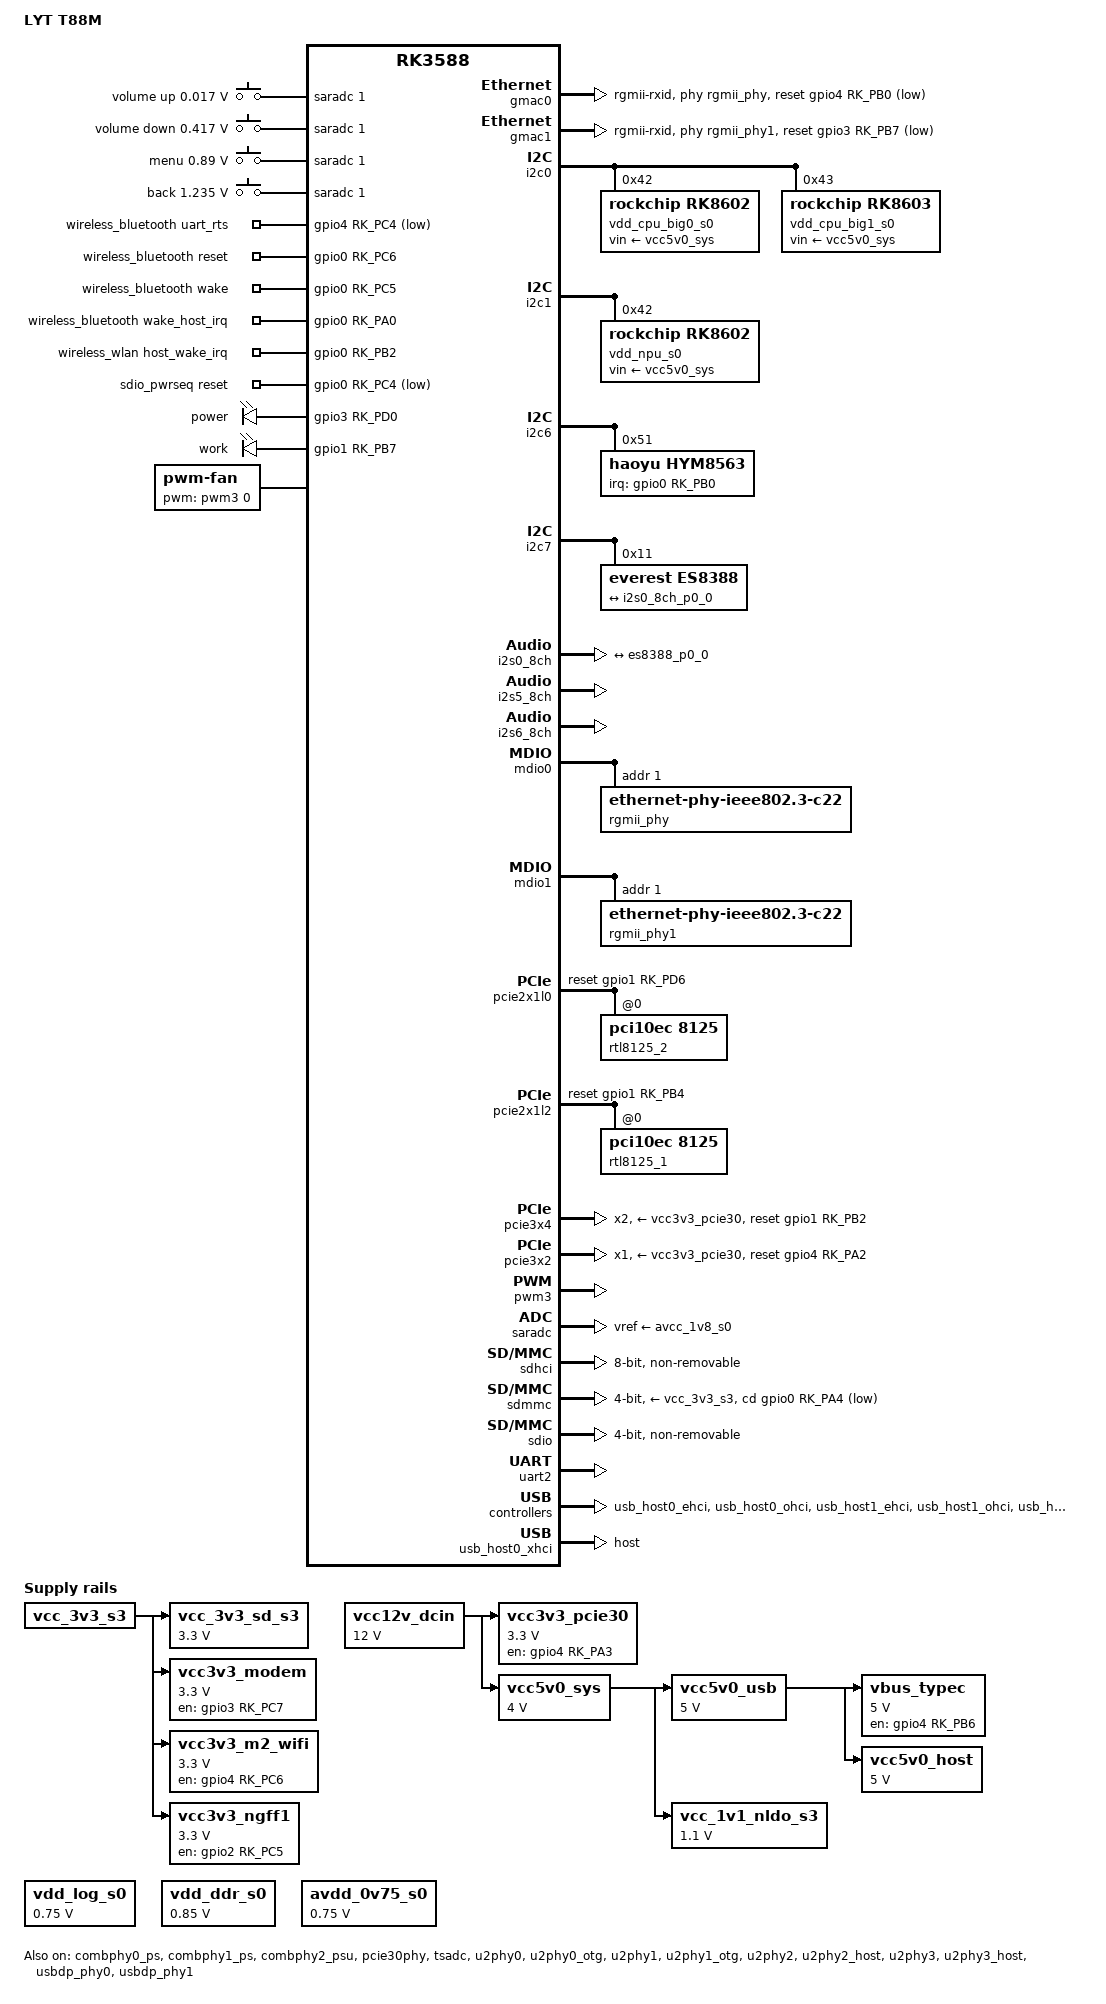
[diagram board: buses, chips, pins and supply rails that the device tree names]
// SPDX-License-Identifier: (GPL-2.0+ OR MIT)
/*
 * Copyright (c) 2022 Rockchip Electronics Co., Ltd.
 *
 */

/dts-v1/;

#include <dt-bindings/gpio/gpio.h>
#include <dt-bindings/input/input.h>
#include <dt-bindings/pinctrl/rockchip.h>
#include <dt-bindings/usb/pd.h>
#include <rockchip/rk3588.dtsi>
#include "rk3588-rk806-single.dtsi"
#include "rk3588s-ip.dtsi"
#include "rk3588s-ip-supply.dtsi"

/ {
	model = "LYT T88M";
	compatible = "lyt,t88m", "rockchip,rk3588";
	eth_order = "fe1b0000.ethernet,fe1c0000.ethernet,0004:*1:00.0,0002:*1:00.0";

	aliases {
		led-boot = &work_led;
		led-failsafe = &work_led;
		led-running = &work_led;
		led-upgrade = &work_led;

		ethernet0 = &gmac0;
		ethernet1 = &gmac1;
		ethernet2 = &rtl8125_1;
		ethernet3 = &rtl8125_2;
	};

	chosen {
		stdout-path = "serial2:115200n8";
	};

	adc_keys: adc-keys {
		compatible = "adc-keys";
		io-channels = <&saradc 1>;
		io-channel-names = "buttons";
		keyup-threshold-microvolt = <1800000>;
		poll-interval = <100>;

		vol-up-key {
			label = "volume up";
			linux,code = <KEY_VOLUMEUP>;
			press-threshold-microvolt = <17000>;
		};

		vol-down-key {
			label = "volume down";
			linux,code = <KEY_VOLUMEDOWN>;
			press-threshold-microvolt = <417000>;
		};

		menu-key {
			label = "menu";
			linux,code = <KEY_MENU>;
			press-threshold-microvolt = <890000>;
		};

		back-key {
			label = "back";
			linux,code = <KEY_BACK>;
			press-threshold-microvolt = <1235000>;
		};
	};

	vcc12v_dcin: vcc12v-dcin {
		compatible = "regulator-fixed";
		regulator-always-on;
		regulator-boot-on;
		regulator-min-microvolt = <12000000>;
		regulator-max-microvolt = <12000000>;
		regulator-name = "vcc12v_dcin";
	};

	vcc3v3_pcie30: vcc3v3-pcie30 {
		compatible = "regulator-fixed";
		regulator-name = "vcc3v3_pcie30";
		gpio = <&gpio4 RK_PA3 GPIO_ACTIVE_HIGH>; // vcc3v3_clk pwr en
		regulator-always-on;
		regulator-boot-on;
		enable-active-high;
		regulator-min-microvolt = <3300000>;
		regulator-max-microvolt = <3300000>;
		startup-delay-us = <5000>;
		vin-supply = <&vcc12v_dcin>;
	};

	vcc5v0_sys: vcc5v0-sys {
		compatible = "regulator-fixed";
		regulator-name = "vcc5v0_sys";
		regulator-always-on;
		regulator-boot-on;
		regulator-min-microvolt = <4000000>;
		regulator-max-microvolt = <4000000>;
		vin-supply = <&vcc12v_dcin>;
	};

	vcc5v0_usb: vcc5v0-usb {
		compatible = "regulator-fixed";
		regulator-name = "vcc5v0_usb";
		enable-active-high;
		regulator-always-on;
		regulator-boot-on;
		regulator-min-microvolt = <5000000>;
		regulator-max-microvolt = <5000000>;
		vin-supply = <&vcc5v0_sys>;
	};

	vcc_1v1_nldo_s3: vcc-1v1-nldo-s3 {
		compatible = "regulator-fixed";
		regulator-name = "vcc_1v1_nldo_s3";
		regulator-always-on;
		regulator-boot-on;
		regulator-min-microvolt = <1100000>;
		regulator-max-microvolt = <1100000>;
		vin-supply = <&vcc5v0_sys>;
	};

	vcc_3v3_sd_s3: vcc-3v3-sd-s3 {
		compatible = "regulator-fixed";
		regulator-name = "vcc_3v3_sd_s3";
		regulator-always-on;
		regulator-boot-on;
		regulator-min-microvolt = <3300000>;
		regulator-max-microvolt = <3300000>;
		vin-supply = <&vcc_3v3_s3>;
	};

	vbus_typec: vbus-typec {
		compatible = "regulator-fixed";
		regulator-name = "vbus_typec";
		regulator-min-microvolt = <5000000>;
		regulator-max-microvolt = <5000000>;
		regulator-always-on;
		regulator-boot-on;
		enable-active-high;
		gpio = <&gpio4 RK_PB6 GPIO_ACTIVE_HIGH>;
		vin-supply = <&vcc5v0_usb>;
		pinctrl-names = "default";
		pinctrl-0 = <&typec_vbus_en>;
	};

	vcc5v0_host: vcc5v0-host {
		compatible = "regulator-fixed";
		regulator-name = "vcc5v0_host";
		regulator-boot-on;
		regulator-always-on;
		regulator-min-microvolt = <5000000>;
		regulator-max-microvolt = <5000000>;
		enable-active-high;
		vin-supply = <&vcc5v0_usb>;
	};

	wireless_bluetooth: wireless-bluetooth {
		status = "okay";
		compatible = "bluetooth-platdata";
		clocks = <&hym8563>;
		clock-names = "ext_clock";
		uart_rts_gpios = <&gpio4 RK_PC4 GPIO_ACTIVE_LOW>;
		pinctrl-names = "default", "rts_gpio";
		pinctrl-0 = <&uart9m0_rtsn>, <&bt_reset_gpio>, <&bt_wake_gpio>, <&bt_irq_gpio>;
		pinctrl-1 = <&uart9_gpios>;
		BT,reset_gpio = <&gpio0 RK_PC6 GPIO_ACTIVE_HIGH>;
		BT,wake_gpio = <&gpio0 RK_PC5 GPIO_ACTIVE_HIGH>;
		BT,wake_host_irq = <&gpio0 RK_PA0 GPIO_ACTIVE_HIGH>;
	};

	wireless_wlan: wireless-wlan {
		status = "okay";
		compatible = "wlan-platdata";
		wifi_chip_type = "ap6275S";
		pinctrl-names = "default";
		pinctrl-0 = <&wifi_host_wake_irq>;
		WIFI,host_wake_irq = <&gpio0 RK_PB2 GPIO_ACTIVE_HIGH>;
	};

	sdio_pwrseq: sdio-pwrseq {
		status = "okay";
		compatible = "mmc-pwrseq-simple";
		clocks = <&hym8563>;
		clock-names = "ext_clock";
		pinctrl-names = "default";
		pinctrl-0 = <&wifi_enable_h>;
		post-power-on-delay-ms = <200>;
		reset-gpios = <&gpio0 RK_PC4 GPIO_ACTIVE_LOW>;
	};

	vcc3v3_modem: vcc3v3-modem {
		compatible = "regulator-fixed";
		enable-active-high;
		regulator-always-on;
		regulator-boot-on;
		gpios = <&gpio3 RK_PC7 GPIO_ACTIVE_HIGH>;
		regulator-min-microvolt = <3300000>;
		regulator-max-microvolt = <3300000>;
		regulator-name = "vcc3v3_modem";
		pinctrl-names = "default";
		pinctrl-0 = <&modem_power_en>;
		vin-supply = <&vcc_3v3_s3>;
	};

	vcc3v3_m2_wifi: vcc3v3-m2-wifi {
		compatible = "regulator-fixed";
		enable-active-high;
		regulator-always-on;
		regulator-boot-on;
		gpios = <&gpio4 RK_PC6 GPIO_ACTIVE_HIGH>;
		regulator-min-microvolt = <3300000>;
		regulator-max-microvolt = <3300000>;
		regulator-name = "vcc3v3_m2_wifi";
		pinctrl-names = "default";
		pinctrl-0 = <&m2_wifi_power_en>;
		vin-supply = <&vcc_3v3_s3>;
	};

	vcc3v3_ngff1: vcc3v3-ngff1 {
		compatible = "regulator-fixed";
		enable-active-high;
		regulator-always-on;
		regulator-boot-on;
		gpios = <&gpio2 RK_PC5 GPIO_ACTIVE_HIGH>;
		regulator-min-microvolt = <3300000>;
		regulator-max-microvolt = <3300000>;
		regulator-name = "vcc3v3_ngff1";
		pinctrl-names = "default";
		pinctrl-0 = <&ngff1_power_en>;
		vin-supply = <&vcc_3v3_s3>;
	};

	leds {
		compatible = "gpio-leds";
		pinctrl-names = "default";
		pinctrl-0 = <&led_power_en &led_work_en>;

		power_led: power {
			label = "power";
			gpios = <&gpio3 RK_PD0 GPIO_ACTIVE_HIGH>;
		};

		work_led: work {
			label = "work";
			gpios = <&gpio1 RK_PB7 GPIO_ACTIVE_HIGH>;
		};
	};

	fan: pwm-fan {
		compatible = "pwm-fan";
		#cooling-cells = <2>;
		pwms = <&pwm3 0 50000 0>;
		cooling-levels = <0 50 100 150 200 255>;
		rockchip,temp-trips = <
				50000   1
				55000   2
				60000   3
				65000   4
				70000   5
		>;
	};

};

&combphy0_ps {
	status = "okay";
};

&combphy1_ps {
	status = "okay";
};

&combphy2_psu {
	status = "okay";
};

&cpu_l0 {
	cpu-supply = <&vdd_cpu_lit_s0>;
};

&cpu_l1 {
	cpu-supply = <&vdd_cpu_lit_s0>;
};

&cpu_l2 {
	cpu-supply = <&vdd_cpu_lit_s0>;
};

&cpu_l3 {
	cpu-supply = <&vdd_cpu_lit_s0>;
};

&cpu_b0 {
	cpu-supply = <&vdd_cpu_big0_s0>;
};

&cpu_b1 {
	cpu-supply = <&vdd_cpu_big0_s0>;
};

&cpu_b2 {
	cpu-supply = <&vdd_cpu_big1_s0>;
};

&cpu_b3 {
	cpu-supply = <&vdd_cpu_big1_s0>;
};

&gmac0 {
        /* Use rgmii-rxid mode to disable rx delay inside Soc */
        phy-mode = "rgmii-rxid";
        clock_in_out = "output";

        snps,reset-gpio = <&gpio4 RK_PB0 GPIO_ACTIVE_LOW>;
        snps,reset-active-low;
        /* Reset time is 20ms, 100ms for rtl8211f */
        snps,reset-delays-us = <0 20000 100000>;

        pinctrl-names = "default";
        pinctrl-0 = <&gmac0_miim
                     &gmac0_tx_bus2
                     &gmac0_rx_bus2
                     &gmac0_rgmii_clk
                     &gmac0_rgmii_bus>;

        tx_delay = <0x43>;
        /* rx_delay = <0x3f>; */

        phy-handle = <&rgmii_phy>;
        status = "okay";
};

&gmac1 {
	/* Use rgmii-rxid mode to disable rx delay inside Soc */
	phy-mode = "rgmii-rxid";
	clock_in_out = "output";

	snps,reset-gpio = <&gpio3 RK_PB7 GPIO_ACTIVE_LOW>;
	snps,reset-active-low;
	/* Reset time is 20ms, 100ms for rtl8211f */
	snps,reset-delays-us = <0 20000 100000>;

	pinctrl-names = "default";
	pinctrl-0 = <&gmac1_miim
			 &gmac1_tx_bus2
			 &gmac1_rx_bus2
			 &gmac1_rgmii_clk
			 &gmac1_rgmii_bus>;

	tx_delay = <0x30>;
	/* rx_delay = <0x4f>; */

	phy-handle = <&rgmii_phy1>;
	status = "okay";
};

&i2c0 {
	pinctrl-names = "default";
	pinctrl-0 = <&i2c0m2_xfer>;
	status = "okay";

	vdd_cpu_big0_s0: regulator@42 {
		compatible = "rockchip,rk8602";
		reg = <0x42>;
		fcs,suspend-voltage-selector = <1>;
		regulator-name = "vdd_cpu_big0_s0";
		regulator-always-on;
		regulator-boot-on;
		regulator-min-microvolt = <550000>;
		regulator-max-microvolt = <1050000>;
		regulator-ramp-delay = <2300>;
		vin-supply = <&vcc5v0_sys>;

		regulator-state-mem {
			regulator-off-in-suspend;
		};
	};

	vdd_cpu_big1_s0: regulator@43 {
		compatible = "rockchip,rk8603", "rockchip,rk8602";
		reg = <0x43>;
		fcs,suspend-voltage-selector = <1>;
		regulator-name = "vdd_cpu_big1_s0";
		regulator-always-on;
		regulator-boot-on;
		regulator-min-microvolt = <550000>;
		regulator-max-microvolt = <1050000>;
		regulator-ramp-delay = <2300>;
		vin-supply = <&vcc5v0_sys>;

		regulator-state-mem {
			regulator-off-in-suspend;
		};
	};
};

&i2c1 {
	pinctrl-names = "default";
	pinctrl-0 = <&i2c1m2_xfer>;
	status = "okay";

	vdd_npu_s0: regulator@42 {
		compatible = "rockchip,rk8602";
		reg = <0x42>;
		fcs,suspend-voltage-selector = <1>;
		regulator-name = "vdd_npu_s0";
		regulator-always-on;
		regulator-boot-on;
		regulator-min-microvolt = <550000>;
		regulator-max-microvolt = <950000>;
		regulator-ramp-delay = <2300>;
		vin-supply = <&vcc5v0_sys>;

		regulator-state-mem {
			regulator-off-in-suspend;
		};
	};
};

&i2c6 {
	status = "okay";
	pinctrl-names = "default";
	pinctrl-0 = <&i2c6m0_xfer>;

	hym8563: rtc@51 {
		compatible = "haoyu,hym8563";
		reg = <0x51>;
		#clock-cells = <0>;
		clock-output-names = "hym8563";
		pinctrl-names = "default";
		pinctrl-0 = <&hym8563_int>;
		interrupt-parent = <&gpio0>;
		interrupts = <RK_PB0 IRQ_TYPE_LEVEL_LOW>;
		wakeup-source;
	};
};

&i2c7 {
	pinctrl-names = "default";
	pinctrl-0 = <&i2c7m0_xfer>;
	status = "okay";

	es8388: es8388@11 {
		compatible = "everest,es8388", "everest,es8323";
		reg = <0x11>;
		assigned-clocks = <&cru I2S0_8CH_MCLKOUT>;
		assigned-clock-rates = <12288000>;
		clocks = <&cru I2S0_8CH_MCLKOUT>;
		clock-names = "mclk";
		#sound-dai-cells = <0>;

		port {
			es8388_p0_0: endpoint {
				remote-endpoint = <&i2s0_8ch_p0_0>;
			};
		};
	};
};

&i2s0_8ch {
	pinctrl-names = "default";
	pinctrl-0 = <&i2s0_lrck
		     &i2s0_mclk
		     &i2s0_sclk
		     &i2s0_sdi0
		     &i2s0_sdo0>;
	status = "okay";

	i2s0_8ch_p0: port {
		i2s0_8ch_p0_0: endpoint {
			dai-format = "i2s";
			mclk-fs = <256>;
			remote-endpoint = <&es8388_p0_0>;
		};
	};
};

&i2s5_8ch {
	status = "okay";
};

&i2s6_8ch {
	status = "okay";
};

&i2s7_8ch {
	status = "disabled";
};

&mdio0 {
	rgmii_phy: phy@1 {
		compatible = "ethernet-phy-ieee802.3-c22";
		reg = <0x1>;
	};
};

&mdio1 {
	rgmii_phy1: phy@1 {
		compatible = "ethernet-phy-ieee802.3-c22";
		reg = <0x1>;
	};
};

// combphy1_ps
&pcie2x1l0 { // pcie@fe170000
	reset-gpios = <&gpio1 RK_PD6 GPIO_ACTIVE_HIGH>;
	status = "okay";

	pcie@20 {
		reg = <0x00400000 0 0 0 0>;
		#address-cells = <3>;
		#size-cells = <2>;

		rtl8125_2: pcie-eth@20,0 {
			compatible = "pci10ec,8125";
			reg = <0x000000 0 0 0 0>;
		};
	};
};

// combphy0_ps
&pcie2x1l2 { // pcie@fe190000
	reset-gpios = <&gpio1 RK_PB4 GPIO_ACTIVE_HIGH>;
	status = "okay";

	pcie@40 {
		reg = <0x00400000 0 0 0 0>;
		#address-cells = <3>;
		#size-cells = <2>;

		rtl8125_1: pcie-eth@40,0 {
			compatible = "pci10ec,8125";
			reg = <0x000000 0 0 0 0>;
		};
	};
};

&pcie30phy {
	data-lanes = <1 1 2 4>;
	status = "okay";
};

&pcie3x4 {
	status = "okay";
	reset-gpios = <&gpio1 RK_PB2 GPIO_ACTIVE_HIGH>;
	num-lanes = <2>;
	vpcie3v3-supply = <&vcc3v3_pcie30>;
};

&pcie3x2 {
	status = "okay";
	reset-gpios = <&gpio4 RK_PA2 GPIO_ACTIVE_HIGH>;
	max-link-speed = <3>;
	num-lanes = <1>;
	vpcie3v3-supply = <&vcc3v3_pcie30>;
};

&pinctrl {
	hdmi {
		hdmirx_det: hdmirx-det {
			rockchip,pins = <1 RK_PD5 RK_FUNC_GPIO &pcfg_pull_up>;
		};
	};

	hym8563 {
		hym8563_int: hym8563-int {
			rockchip,pins = <0 RK_PB0 RK_FUNC_GPIO &pcfg_pull_up>;
		};
	};

	headphone {
		hp_det: hp-det {
			rockchip,pins = <1 RK_PC4 RK_FUNC_GPIO &pcfg_pull_none>;
		};
	};

	leds {
		led_power_en: led_power_en {
			rockchip,pins = <3 RK_PD0 RK_FUNC_GPIO &pcfg_pull_none>;
		};

		led_work_en: led_work_en {
			rockchip,pins = <1 RK_PB7 RK_FUNC_GPIO &pcfg_pull_none>;
		};
	};

	modem {
		modem_power_en: modem-power-en {
			rockchip,pins = <3 RK_PC7 RK_FUNC_GPIO &pcfg_pull_none>;
		};

		modem_reset_en: modem-reset-en {
			rockchip,pins = <3 RK_PD5 RK_FUNC_GPIO &pcfg_pull_none>;
		};
	};

	ngff1 {
		ngff1_power_en: ngff1-power-en {
			rockchip,pins = <2 RK_PC5 RK_FUNC_GPIO &pcfg_pull_none>;
		};
	};

	m2_wifi {
		m2_wifi_power_en: m2-wifi-power-en {
			rockchip,pins = <4 RK_PC6 RK_FUNC_GPIO &pcfg_pull_none>;
		};
	};

	ext_gpio {
		ext_gpio0_c0: ext-gpio0-c0 {
			rockchip,pins = <0 RK_PC0 RK_FUNC_GPIO &pcfg_pull_none>;
		};

		ext_gpio0_b7: ext-gpio0-b7 {
			rockchip,pins = <0 RK_PB7 RK_FUNC_GPIO &pcfg_pull_none>;
		};

		ext_gpio4_b2: ext-gpio4-b2 {
			rockchip,pins = <4 RK_PB2 RK_FUNC_GPIO &pcfg_pull_none>;
		};

		ext_gpio4_b3: ext-gpio4-b3 {
			rockchip,pins = <4 RK_PB3 RK_FUNC_GPIO &pcfg_pull_none>;
		};
	};

	tmp {
		vcc3_tmp: vcc3-tmp {
			rockchip,pins = <3 RK_PC0 RK_FUNC_GPIO &pcfg_pull_none>;
		};

		tmp_rst: tmp-rst {
			rockchip,pins = <3 RK_PC1 RK_FUNC_GPIO &pcfg_pull_none>;
		};
	};

	usb-typec {
		typec_vbus_en: typec-vbus-en {
			rockchip,pins = <4 RK_PB6 RK_FUNC_GPIO &pcfg_pull_none>;
		};
	};

	wireless-bluetooth {
		uart9_gpios: uart7-gpios {
			rockchip,pins = <4 RK_PC4 RK_FUNC_GPIO &pcfg_pull_none>;
		};

		bt_reset_gpio: bt-reset-gpio {
			rockchip,pins = <0 RK_PC6 RK_FUNC_GPIO &pcfg_pull_none>;
		};

		bt_wake_gpio: bt-wake-gpio {
			rockchip,pins = <0 RK_PC5 RK_FUNC_GPIO &pcfg_pull_none>;
		};

		bt_irq_gpio: bt-irq-gpio {
			rockchip,pins = <0 RK_PA0 RK_FUNC_GPIO &pcfg_pull_down>;
		};
	};

	wireless-wlan {
		wifi_host_wake_irq: wifi-host-wake-irq {
			rockchip,pins = <0 RK_PB2 RK_FUNC_GPIO &pcfg_pull_down>;
		};
	};

	sdio-pwrseq {
		wifi_enable_h: wifi-enable-h {
			rockchip,pins = <0 RK_PC4 RK_FUNC_GPIO &pcfg_pull_none>;
		};
	};
};

&pwm3 {
	status = "okay";
	pinctrl-0 = <&pwm3m3_pins>;
};

&saradc {
	status = "okay";
	vref-supply = <&avcc_1v8_s0>;
};

&sdhci {
	bus-width = <8>;
	max-frequency = <200000000>;
	mmc-hs400-1_8v;
	mmc-hs400-enhanced-strobe;
	no-sd;
	no-sdio;
	non-removable;
	status = "okay";
};

&sdmmc {
	bus-width = <4>;
	cap-mmc-highspeed;
	cap-sd-highspeed;
	disable-wp;
	no-mmc;
	no-sdio;
	max-frequency = <50000000>;
	vmmc-supply = <&vcc_3v3_s3>;
	vqmmc-supply = <&vccio_sd_s0>;
	cd-gpios = <&gpio0 RK_PA4 GPIO_ACTIVE_LOW>;
	status = "okay";
};

&sdio { // wifi sdio
	status = "okay";
	pinctrl-0 = <&sdiom0_pins>;
	max-frequency = <150000000>;
	no-sd;
	no-mmc;
	supports-sdio;
	bus-width = <4>;
	disable-wp;
	cap-sd-highspeed;
	cap-sdio-irq;
	keep-power-in-suspend;
	mmc-pwrseq = <&sdio_pwrseq>;
	non-removable;
	num-slots = <1>;
	rockchip,default-sample-phase = <90>;
	sd-uhs-sdr50;
	sd-uhs-sdr104; //SDIO3.0
};

&tsadc {
	status = "okay";
};

&uart2 {
	pinctrl-0 = <&uart2m0_xfer>;
	status = "okay";
};

&u2phy0 {
	status = "okay";
};

&u2phy0_otg {
	status = "okay";
	rockchip,typec-vbus-det;
};

&u2phy1 {
	status = "okay";
};

&u2phy1_otg {
	phy-supply = <&vcc5v0_host>;
	status = "okay";
};

&u2phy2 {
	status = "okay";
};

&u2phy2_host {
	status = "okay";
};

&u2phy3 {
	status = "okay";
};

&u2phy3_host {
	status = "okay";
};

&usbdp_phy0 {
	status = "okay";
};

&usbdp_phy1 {
	status = "okay";
};

&usb_host0_ehci {
	status = "okay";
};

&usb_host0_ohci {
	status = "okay";
};

&usb_host0_xhci {
	dr_mode = "host";
	status = "okay";
};

&usb_host1_ehci {
	status = "okay";
};

&usb_host1_ohci {
	status = "okay";
};

&usb_host1_xhci {
	status = "okay";
};

&vdd_log_s0 {
	regulator-min-microvolt = <750000>;
};

&vdd_ddr_s0 {
	regulator-min-microvolt = <850000>;
	regulator-max-microvolt = <850000>;
};

&avdd_0v75_s0 {
	regulator-min-microvolt = <750000>;
	regulator-max-microvolt = <750000>;
};
